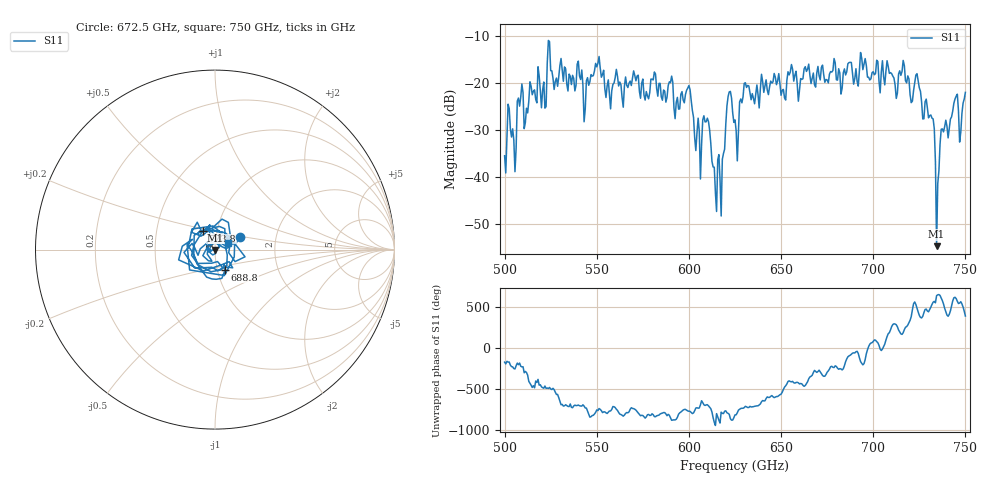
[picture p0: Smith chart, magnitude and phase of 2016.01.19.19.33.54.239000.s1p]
!Created with skrf (http://scikit-rf.org).
# GHz S RI R 50.0
!freq ReS11 ImS11
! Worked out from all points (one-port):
!   401 points, 500 GHz to 750 GHz, reference 50 ohm
!   lowest |S11| = -54.8 dB at 734.4 GHz (marker M1), VSWR 1.00, Z = 50 - j0.181 ohm
!   |S11| at or under -10 dB: start of sweep to end of sweep
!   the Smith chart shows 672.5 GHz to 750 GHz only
!   S11 on the Smith chart (normalised r, x): 672.5 GHz: 1.30, +0.19; 688.8 GHz: 1.09, -0.25; 723.8 GHz: 0.86, +0.18; 750 GHz: 1.15, +0.09
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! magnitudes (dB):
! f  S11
! 500 GHz  -35.5
! 503.1 GHz  -29.8
! 505 GHz  -32.2
! 508.1 GHz  -25.0
! 511.9 GHz  -25.4
! 521.2 GHz  -19.8
! 524.4 GHz  -11.2
! 531.2 GHz  -17.3
! 562.5 GHz  -19.8
! 590 GHz  -20.0
! 593.8 GHz  -23.1
! 600 GHz  -20.6
! 605 GHz  -27.5
! 609.4 GHz  -28.3
! 616.2 GHz  -35.3
! 621.9 GHz  -21.9
! 625 GHz  -27.9
! 631.2 GHz  -21.0
! 656.2 GHz  -17.1
! 672.5 GHz  -16.2
! 687.5 GHz  -15.6
! 688.8 GHz  -18.0
! 718.8 GHz  -18.5
! 723.8 GHz  -18.1
! 731.9 GHz  -27.5
! 734.4 GHz  -54.8
! 738.1 GHz  -30.5
! 750 GHz  -22.0
